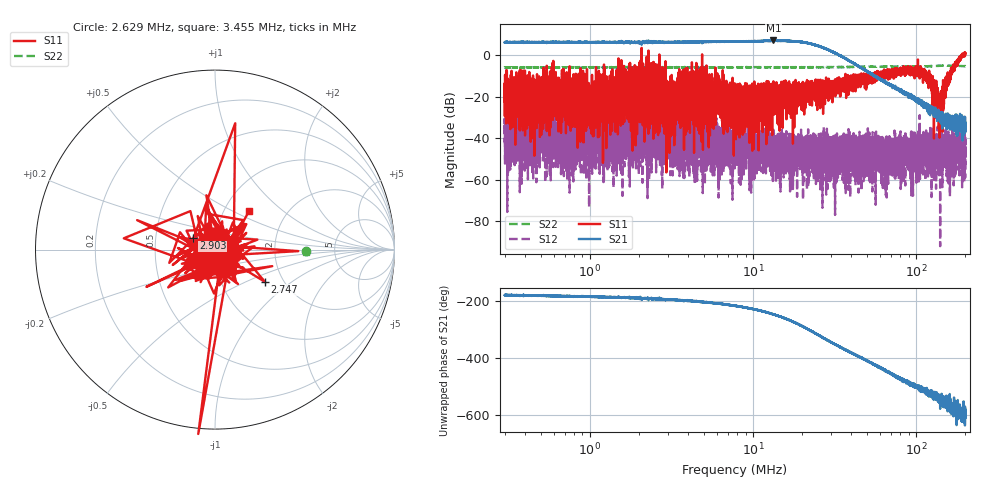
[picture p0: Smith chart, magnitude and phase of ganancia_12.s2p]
# Hz S DB R 50
! CMT, M5065, 19127446, 24.2.4/2
! Date: 11/1/2024 4:21:45 PM
! Data: Format (Calibration Info)
! Freq	S11:dB/Ang(F2)	S21:dB/Ang(F2)	S12:dB/Ang(F2)	S22:dB/Ang(F2)
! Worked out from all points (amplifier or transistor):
!   9000 points, 300 kHz to 200 MHz, reference 50 ohm
!   highest |S21| = 7.0 dB at 13.31 MHz (marker M1)
!   |S21| within 3 dB of that: start of sweep to 25.75 MHz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
!   unconditionally stable (mu >= 1): start of sweep to 2.073 MHz; 2.665 MHz to 4.867 MHz; 4.872 MHz to 189.5 MHz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
!   at 886.8 kHz: K = 15.32, MAG = 7.5 dB, |S12| = -38.5 dB
!   at 7.749 MHz: K = 27.07, MAG = 7.8 dB, |S12| = -43.7 dB
!   at 200 MHz: K = -304.84, MSG = 5.6 dB, |S12| = -45.0 dB
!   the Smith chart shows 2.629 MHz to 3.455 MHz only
!   S11 on the Smith chart (normalised r, x): 2.629 MHz: 1.20, -0.09; 2.747 MHz: 1.61, -0.65; 2.903 MHz: 0.78, +0.10; 3.455 MHz: 1.30, +0.62
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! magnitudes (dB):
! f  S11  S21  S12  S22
! 300 kHz  -19.3  6.2  -33.2  -5.9
! 311.5 kHz  -22.3  6.2  -75.6  -5.9
! 386.3 kHz  -30.0  6.2  -42.6  -5.9
! 510.2 kHz  -18.4  6.1  -43.1  -5.8
! 598.1 kHz  -19.4  6.3  -41.4  -5.9
! 886.8 kHz  -21.2  6.1  -38.5  -5.9
! 1.632 MHz  -8.7  5.9  -40.0  -5.9
! 2.621 MHz  -17.5  6.3  -50.2  -5.9
! 2.629 MHz  -20.2  6.1  -37.1  -5.9
! 2.747 MHz  -9.6  6.0  -52.1  -5.9
! 2.903 MHz  -17.3  6.3  -39.4  -5.8
! 3.455 MHz  -10.8  6.0  -42.8  -5.9
! 5.931 MHz  -20.8  6.4  -42.7  -5.9
! 7.749 MHz  -35.4  6.5  -43.7  -5.9
! 13.31 MHz  -12.7  7.0  -51.2  -5.8
! 22.91 MHz  -15.8  5.3  -56.7  -5.8
! 67.71 MHz  -8.7  -13.7  -44.4  -5.6
! 109 MHz  -8.4  -23.0  -42.2  -5.4
! 123.9 MHz  -17.1  -27.6  -48.1  -5.3
! 140 MHz  -23.6  -29.1  -41.0  -5.2
! 159.3 MHz  -11.2  -33.8  -45.2  -5.2
! 200 MHz  0.4  -33.8  -45.0  -5.3
